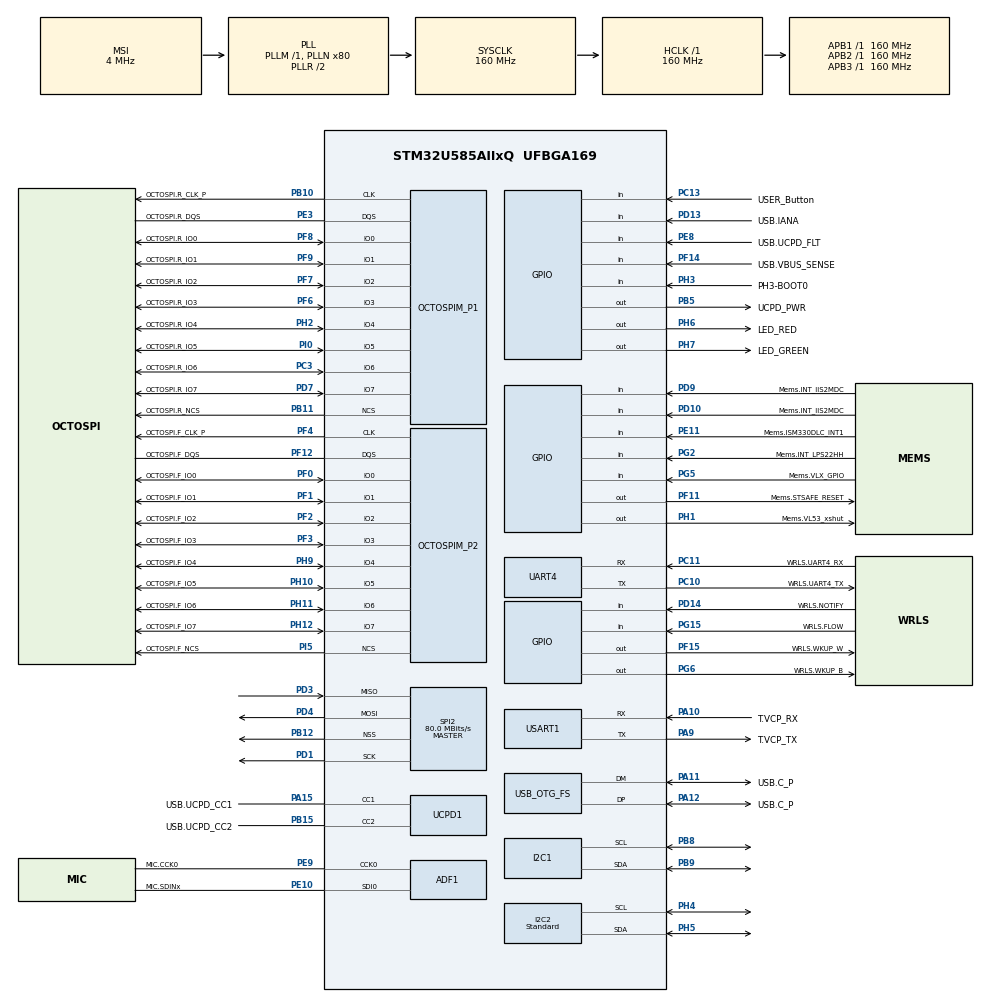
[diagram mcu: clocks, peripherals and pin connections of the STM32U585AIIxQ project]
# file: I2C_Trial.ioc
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CORTEX_M33_NS.userName=CORTEX_M33
I2C1.Timing=0x30909DEC
I2C2.I2C_Speed_Mode=I2C_Standard
I2C2.Timing=0x30909DEC
Mcu.Family=STM32U5
Mcu.Name=STM32U585AIIxQ
Mcu.Package=UFBGA169
NVIC.PriorityGroup=NVIC_PRIORITYGROUP_4
OCTOSPI2.ChipSelectBoundary=0
OCTOSPI2.ChipSelectHighTime=2
OCTOSPI2.ClockPrescaler=4
OCTOSPI2.DelayBlockBypass=HAL_OSPI_DELAY_BLOCK_USED
OCTOSPI2.DelayHoldQuarterCycle=HAL_OSPI_DHQC_ENABLE
OCTOSPI2.DeviceSize=26
OCTOSPI2.FifoThreshold=4
OCTOSPI2.MemoryType=HAL_OSPI_MEMTYPE_MACRONIX
PA10.GPIO_Label=T.VCP_RX
PA10.Mode=Asynchronous
PA10.Signal=USART1_RX
PA11.GPIO_Label=USB.C_P
PA11.Mode=Device_Only
PA11.Signal=USB_OTG_FS_DM
PA12.GPIO_Label=USB.C_P
PA12.Mode=Device_Only
PA12.Signal=USB_OTG_FS_DP
PA13\ (JTMS/SWDIO).GPIO_Label=T.SWDIO
PA13\ (JTMS/SWDIO).Mode=Trace_Asynchronous_SW
PA13\ (JTMS/SWDIO).Signal=DEBUG_JTMS-SWDIO
PA14\ (JTCK/SWCLK).GPIO_Label=T.SWCLK
PA14\ (JTCK/SWCLK).Mode=Trace_Asynchronous_SW
PA14\ (JTCK/SWCLK).Signal=DEBUG_JTCK-SWCLK
PA15\ (JTDI).GPIO_Label=USB.UCPD_CC1
PA15\ (JTDI).Mode=Dual_Role_AllSignals
PA15\ (JTDI).Signal=UCPD1_CC1
PA9.GPIO_Label=T.VCP_TX
PA9.Mode=Asynchronous
PA9.Signal=USART1_TX
PB1.GPIO_Label=MIC.SDIN0
PB1.Signal=MDF1_SDI0
PB10.GPIO_Label=OCTOSPI.R_CLK_P
PB10.Mode=O1_P1_CLK
PB10.Signal=OCTOSPIM_P1_CLK
PB11.GPIO_Label=OCTOSPI.R_NCS
PB11.Mode=OCTOSPI1_Port1_NCS
PB11.Signal=OCTOSPIM_P1_NCS
PB12.GPIO_Mode=GPIO_MODE_AF_PP
PB12.GPIO_PuPd=GPIO_NOPULL
PB12.GPIO_Speed=GPIO_SPEED_FREQ_LOW
PB12.Mode=NSS_Signal_Hard_Output
PB12.Signal=SPI2_NSS
PB15.GPIO_Label=USB.UCPD_CC2
PB15.Mode=Dual_Role_AllSignals
PB15.Signal=UCPD1_CC2
PB3\ (JTDO/TRACESWO).GPIO_Label=T.SWO
PB3\ (JTDO/TRACESWO).Mode=Trace_Asynchronous_SW
PB3\ (JTDO/TRACESWO).Signal=DEBUG_JTDO-SWO
PB5.GPIO_Label=UCPD_PWR
PB5.Signal=GPIO_Output
PB8.Mode=I2C
PB8.Signal=I2C1_SCL
PB9.Mode=I2C
PB9.Signal=I2C1_SDA
PC10.GPIO_Label=WRLS.UART4_TX
PC10.Mode=Asynchronous
PC10.Signal=UART4_TX
PC11.GPIO_Label=WRLS.UART4_RX
PC11.Mode=Asynchronous
PC11.Signal=UART4_RX
PC13.GPIO_Label=USER_Button
PC13.Signal=GPIO_Input
PC14-OSC32_IN\ (PC14).GPIO_Label=PC14-OSC32_IN
PC14-OSC32_IN\ (PC14).Mode=LSE-External-Oscillator
PC14-OSC32_IN\ (PC14).Signal=RCC_OSC32_IN
PC15-OSC32_OUT\ (PC15).GPIO_Label=PC15-OSC32_OUT
PC15-OSC32_OUT\ (PC15).Mode=LSE-External-Oscillator
PC15-OSC32_OUT\ (PC15).Signal=RCC_OSC32_OUT
PC3.GPIO_Label=OCTOSPI.R_IO6
PC3.Mode=OCTOSPI1_IOH_Port1H
PC3.Signal=OCTOSPIM_P1_IO6
PD1.GPIO_Mode=GPIO_MODE_AF_PP
PD1.GPIO_PuPd=GPIO_NOPULL
PD1.GPIO_Speed=GPIO_SPEED_FREQ_LOW
PD1.Mode=Full_Duplex_Master
PD1.Signal=SPI2_SCK
PD10.GPIO_Label=Mems.INT_IIS2MDC
PD10.Signal=GPIO_Input
PD13.GPIO_Label=USB.IANA
PD13.Signal=GPIO_Input
PD14.GPIO_Label=WRLS.NOTIFY
PD14.Signal=GPIO_Input
PD3.GPIO_Mode=GPIO_MODE_AF_PP
PD3.GPIO_PuPd=GPIO_NOPULL
PD3.GPIO_Speed=GPIO_SPEED_FREQ_LOW
PD3.Mode=Full_Duplex_Master
PD3.Signal=SPI2_MISO
PD4.GPIO_Mode=GPIO_MODE_AF_PP
PD4.GPIO_PuPd=GPIO_NOPULL
PD4.GPIO_Speed=GPIO_SPEED_FREQ_LOW
PD4.Mode=Full_Duplex_Master
PD4.Signal=SPI2_MOSI
PD7.GPIO_Label=OCTOSPI.R_IO7
PD7.Mode=OCTOSPI1_IOH_Port1H
PD7.Signal=OCTOSPIM_P1_IO7
PD9.GPIO_Label=Mems.INT_IIS2MDC
PD9.Signal=GPIO_Input
PE10.GPIO_Label=MIC.SDINx
PE10.Mode=MOD_ADF_CCK
PE10.Signal=ADF1_SDI0
PE11.GPIO_Label=Mems.ISM330DLC_INT1
PE11.Signal=GPIO_Input
PE3.GPIO_Label=OCTOSPI.R_DQS
PE3.Mode=OCTOSPI1_Port1_DQS
PE3.Signal=OCTOSPIM_P1_DQS
PE8.GPIO_Label=USB.UCPD_FLT
PE8.Signal=GPIO_Input
PE9.GPIO_Label=MIC.CCK0
PE9.Mode=MOD_MDF_CCK0
PE9.Signal=ADF1_CCK0
PF0.GPIO_Label=OCTOSPI.F_IO0
PF0.Mode=OCTOSPI2_IOL_Port2L
PF0.Signal=OCTOSPIM_P2_IO0
PF1.GPIO_Label=OCTOSPI.F_IO1
PF1.Mode=OCTOSPI2_IOL_Port2L
PF1.Signal=OCTOSPIM_P2_IO1
PF10.GPIO_Label=MIC.CCK1
PF10.Signal=MDF1_CCK1
PF11.GPIO_Label=Mems.STSAFE_RESET
PF11.Signal=GPIO_Output
PF12.GPIO_Label=OCTOSPI.F_DQS
PF12.Mode=OCTOSPI2_Port2_DQS
PF12.Signal=OCTOSPIM_P2_DQS
PF14.GPIO_Label=USB.VBUS_SENSE
PF14.Signal=GPIO_Input
PF15.GPIO_Label=WRLS.WKUP_W
PF15.Signal=GPIO_Output
PF2.GPIO_Label=OCTOSPI.F_IO2
PF2.Mode=OCTOSPI2_IOL_Port2L
PF2.Signal=OCTOSPIM_P2_IO2
PF3.GPIO_Label=OCTOSPI.F_IO3
PF3.Mode=OCTOSPI2_IOL_Port2L
PF3.Signal=OCTOSPIM_P2_IO3
PF4.GPIO_Label=OCTOSPI.F_CLK_P
PF4.Mode=O2_P2_CLK
PF4.Signal=OCTOSPIM_P2_CLK
PF6.GPIO_Label=OCTOSPI.R_IO3
PF6.Mode=OCTOSPI1_IOL_Port1L
PF6.Signal=OCTOSPIM_P1_IO3
PF7.GPIO_Label=OCTOSPI.R_IO2
PF7.Mode=OCTOSPI1_IOL_Port1L
PF7.Signal=OCTOSPIM_P1_IO2
PF8.GPIO_Label=OCTOSPI.R_IO0
PF8.Mode=OCTOSPI1_IOL_Port1L
PF8.Signal=OCTOSPIM_P1_IO0
PF9.GPIO_Label=OCTOSPI.R_IO1
PF9.Mode=OCTOSPI1_IOL_Port1L
PF9.Signal=OCTOSPIM_P1_IO1
PG15.GPIO_Label=WRLS.FLOW
PG15.Signal=GPIO_Input
PG2.GPIO_Label=Mems.INT_LPS22HH
PG2.Signal=GPIO_Input
PG5.GPIO_Label=Mems.VLX_GPIO
PG5.Signal=GPIO_Input
PG6.GPIO_Label=WRLS.WKUP_B
PG6.Signal=GPIO_Output
PH1-OSC_OUT\ (PH1).GPIO_Label=Mems.VL53_xshut
PH1-OSC_OUT\ (PH1).Signal=GPIO_Output
PH10.GPIO_Label=OCTOSPI.F_IO5
PH10.Mode=OCTOSPI2_IOH_Port2H
PH10.Signal=OCTOSPIM_P2_IO5
PH11.GPIO_Label=OCTOSPI.F_IO6
PH11.Mode=OCTOSPI2_IOH_Port2H
PH11.Signal=OCTOSPIM_P2_IO6
PH12.GPIO_Label=OCTOSPI.F_IO7
PH12.Mode=OCTOSPI2_IOH_Port2H
PH12.Signal=OCTOSPIM_P2_IO7
PH2.GPIO_Label=OCTOSPI.R_IO4
PH2.Mode=OCTOSPI1_IOH_Port1H
PH2.Signal=OCTOSPIM_P1_IO4
PH3-BOOT0.GPIO_Label=PH3-BOOT0
PH3-BOOT0.Signal=GPIO_Input
PH4.Mode=I2C
PH4.Signal=I2C2_SCL
PH5.Mode=I2C
PH5.Signal=I2C2_SDA
PH6.GPIO_Label=LED_RED
PH6.Signal=GPIO_Output
PH7.GPIO_Label=LED_GREEN
PH7.Signal=GPIO_Output
PH9.GPIO_Label=OCTOSPI.F_IO4
PH9.Mode=OCTOSPI2_IOH_Port2H
PH9.Signal=OCTOSPIM_P2_IO4
PI0.GPIO_Label=OCTOSPI.R_IO5
PI0.Mode=OCTOSPI1_IOH_Port1H
PI0.Signal=OCTOSPIM_P1_IO5
PI5.GPIO_Label=OCTOSPI.F_NCS
PI5.Mode=OCTOSPI2_Port2_NCS
PI5.Signal=OCTOSPIM_P2_NCS
PWR.PowerMode=PWR_SMPS_SUPPLY
ProjectManager.HeapSize=0x200
ProjectManager.StackSize=0x400
ProjectManager.TargetToolchain=STM32CubeIDE
RCC.ADCFreq_Value=16000000
RCC.AHBFreq_Value=160000000
RCC.APB1Freq_Value=160000000
RCC.APB1TimFreq_Value=160000000
RCC.APB2Freq_Value=160000000
RCC.APB2TimFreq_Value=160000000
RCC.APB3Freq_Value=160000000
RCC.CortexFreq_Value=160000000
RCC.DACCLockSelectionVirtual=RCC_DAC1CLKSOURCE_LSI
RCC.DACCLockSelectionVirtualString=RCC_DAC1CLKSOURCE_LSI
RCC.EPOD_VALUE=4000000
RCC.HCLKFreq_Value=160000000
RCC.HSE_VALUE=16000000
RCC.HSI48_VALUE=48000000
RCC.HSI_VALUE=16000000
RCC.LSIDIV_VALUE=32000
RCC.MSI_VALUE=4000000
RCC.PLLN=80
RCC.SYSCLKFreq_VALUE=160000000
RCC.SYSCLKSource=RCC_SYSCLKSOURCE_PLLCLK
RCC.USBFreq_Value=48000000
RCC.VCOOutputFreq_Value=320000000
SPI2.CalculateBaudRate=80.0 MBits/s
SPI2.Direction=SPI_DIRECTION_2LINES
SPI2.Mode=SPI_MODE_MASTER
SPI2.VirtualNSS=VM_NSSHARD
SPI2.VirtualType=VM_MASTER
USART1.VirtualMode-Asynchronous=VM_ASYNC
USB_OTG_FS.VirtualMode=Device_Only
VP_LPBAMQUEUE_VS_QUEUE.Mode=QUEUEMODE
VP_LPBAM_VS_SIG1.Mode=SmartRun
VP_LPBAM_VS_SIG4.Mode=LPDMA1
VP_OCTOSPI1_VS_octo.Mode=octo_mode
VP_OCTOSPI2_VS_octo.Mode=octo_mode
VP_PWR_VS_DBSignals.Mode=DisableDeadBatterySignals
VP_PWR_VS_LPOM.Mode=PowerOptimisation
VP_PWR_VS_SECSignals.Mode=Security/Privilege
board=B-U585I-IOT02A

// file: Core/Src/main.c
/* USER CODE BEGIN Header */
/**
  ******************************************************************************
  * @file           : main.c
  * @brief          : Main program body
  ******************************************************************************
  * @attention
  *
  * Copyright (c) 2022 STMicroelectronics.
  * All rights reserved.
  *
  * This software is licensed under terms that can be found in the LICENSE file
  * in the root directory of this software component.
  * If no LICENSE file comes with this software, it is provided AS-IS.
  *
  ******************************************************************************
  */
/* USER CODE END Header */
#include "main.h"

/* USER CODE BEGIN Includes */
#include <stdlib.h>
#include <stdio.h>
/* USER CODE END Includes */

 MDF_HandleTypeDef AdfHandle0;
MDF_FilterConfigTypeDef AdfFilterConfig0;

I2C_HandleTypeDef hi2c1;
I2C_HandleTypeDef hi2c2;

OSPI_HandleTypeDef hospi1;
OSPI_HandleTypeDef hospi2;

SPI_HandleTypeDef hspi2;

UART_HandleTypeDef huart4;
UART_HandleTypeDef huart1;

PCD_HandleTypeDef hpcd_USB_OTG_FS;

void SystemClock_Config(void);
static void SystemPower_Config(void);
static void MX_GPIO_Init(void);
static void MX_ADF1_Init(void);
static void MX_I2C1_Init(void);
static void MX_I2C2_Init(void);
static void MX_OCTOSPI1_Init(void);
static void MX_OCTOSPI2_Init(void);
static void MX_SPI2_Init(void);
static void MX_UART4_Init(void);
static void MX_USART1_UART_Init(void);
static void MX_UCPD1_Init(void);
static void MX_USB_OTG_FS_PCD_Init(void);
/* USER CODE BEGIN PFP */
static void read_temp(I2C_HandleTypeDef *hi2c, int16_t *value);
static void read_humidity(I2C_HandleTypeDef *hi2c, int16_t *value);
/* USER CODE END PFP */

/* USER CODE BEGIN 0 */
const uint8_t hts221_write_addr = 0xBE;
const uint8_t hts221_read_addr = 0XBF;
/* USER CODE END 0 */

int main(void)
{

  /* MCU Configuration--------------------------------------------------------*/

  /* Reset of all peripherals, Initializes the Flash interface and the Systick. */
  HAL_Init();

  /* Configure the system clock */
  SystemClock_Config();

  /* Configure the System Power */
  SystemPower_Config();

  /* Initialize all configured peripherals */
  MX_GPIO_Init();
  MX_ADF1_Init();
  MX_I2C1_Init();
  MX_I2C2_Init();
  MX_OCTOSPI1_Init();
  MX_OCTOSPI2_Init();
  MX_SPI2_Init();
  MX_UART4_Init();
  MX_USART1_UART_Init();
  MX_UCPD1_Init();
  MX_USB_OTG_FS_PCD_Init();
  /* USER CODE BEGIN 2 */
  int16_t temp_val;
  int16_t hum_val;

  //HTS221 settings (temperature and humidity sensor)

  /* USER CODE END 2 */

  /* Infinite loop */
  /* USER CODE BEGIN WHILE */
  while (1)
  {
	  read_temp(&hi2c2, &temp_val);
	  read_humidity(&hi2c2, &hum_val);
	  //2nd param is slave address; pData is pointer to data. Size can be set to sizeof(pData)
	  //ret = HAL_I2C_Master_Transmit(hi2c2, hts221_write_addr, pData, Size, Timeout=50);//first bit is read/write.
	  //HAL_I2C_Master_Receive(hi2c2, 0xBF, pData, Size, Timeout=50);

	  //HAL_I2C_Mem_Write(&hi2c2, MemAddress, MemAddSize, &read_temp_lo, Size, Timeout);
	  //HAL_I2C_Mem_Read(&hi2c2, hts221_read_addr, temp_out_l, MemAddSize, pData, Size, Timeout)
    /* USER CODE END WHILE */

  }
}

void SystemClock_Config(void)
{
  RCC_OscInitTypeDef RCC_OscInitStruct = {0};
  RCC_ClkInitTypeDef RCC_ClkInitStruct = {0};

  /** Configure the main internal regulator output voltage
  */
  if (HAL_PWREx_ControlVoltageScaling(PWR_REGULATOR_VOLTAGE_SCALE1) != HAL_OK)
  {
    Error_Handler();
  }

  /** Initializes the CPU, AHB and APB busses clocks
  */
  RCC_OscInitStruct.OscillatorType = RCC_OSCILLATORTYPE_HSI48|RCC_OSCILLATORTYPE_MSI;
  RCC_OscInitStruct.HSI48State = RCC_HSI48_ON;
  RCC_OscInitStruct.MSIState = RCC_MSI_ON;
  RCC_OscInitStruct.MSICalibrationValue = RCC_MSICALIBRATION_DEFAULT;
  RCC_OscInitStruct.MSIClockRange = RCC_MSIRANGE_4;
  RCC_OscInitStruct.PLL.PLLState = RCC_PLL_ON;
  RCC_OscInitStruct.PLL.PLLSource = RCC_PLLSOURCE_MSI;
  RCC_OscInitStruct.PLL.PLLMBOOST = RCC_PLLMBOOST_DIV1;
  RCC_OscInitStruct.PLL.PLLM = 1;
  RCC_OscInitStruct.PLL.PLLN = 80;
  RCC_OscInitStruct.PLL.PLLP = 2;
  RCC_OscInitStruct.PLL.PLLQ = 2;
  RCC_OscInitStruct.PLL.PLLR = 2;
  RCC_OscInitStruct.PLL.PLLRGE = RCC_PLLVCIRANGE_0;
  RCC_OscInitStruct.PLL.PLLFRACN = 0;
  if (HAL_RCC_OscConfig(&RCC_OscInitStruct) != HAL_OK)
  {
    Error_Handler();
  }

  /** Initializes the CPU, AHB and APB busses clocks
  */
  RCC_ClkInitStruct.ClockType = RCC_CLOCKTYPE_HCLK|RCC_CLOCKTYPE_SYSCLK
                              |RCC_CLOCKTYPE_PCLK1|RCC_CLOCKTYPE_PCLK2
                              |RCC_CLOCKTYPE_PCLK3;
  RCC_ClkInitStruct.SYSCLKSource = RCC_SYSCLKSOURCE_PLLCLK;
  RCC_ClkInitStruct.AHBCLKDivider = RCC_SYSCLK_DIV1;
  RCC_ClkInitStruct.APB1CLKDivider = RCC_HCLK_DIV1;
  RCC_ClkInitStruct.APB2CLKDivider = RCC_HCLK_DIV1;
  RCC_ClkInitStruct.APB3CLKDivider = RCC_HCLK_DIV1;

  if (HAL_RCC_ClockConfig(&RCC_ClkInitStruct, FLASH_LATENCY_4) != HAL_OK)
  {
    Error_Handler();
  }
}

/**
  * @brief Power Configuration
  * @retval None
  */
static void SystemPower_Config(void)
{
  HAL_PWREx_EnableVddIO2();

  /*
   * Switch to SMPS regulator instead of LDO
   */
  if (HAL_PWREx_ConfigSupply(PWR_SMPS_SUPPLY) != HAL_OK)
  {
    Error_Handler();
  }
}

static void MX_ADF1_Init(void)
{

  /**
    AdfHandle0 structure initialization and HAL_MDF_Init function call
  */
  AdfHandle0.Instance = ADF1_Filter0;
  AdfHandle0.Init.CommonParam.ProcClockDivider = 1;
  AdfHandle0.Init.CommonParam.OutputClock.Activation = DISABLE;
  AdfHandle0.Init.SerialInterface.Activation = ENABLE;
  AdfHandle0.Init.SerialInterface.ClockSource = MDF_SITF_CCK0_SOURCE;
  AdfHandle0.Init.SerialInterface.Threshold = 4;
  AdfHandle0.Init.FilterBistream = MDF_BITSTREAM0_FALLING;
  if (HAL_MDF_Init(&AdfHandle0) != HAL_OK)
  {
    Error_Handler();
  }

  /**
    AdfFilterConfig0 structure initialization

    WARNING : only structure is filled, no specific init function call for filter
  */
  AdfFilterConfig0.DataSource = MDF_DATA_SOURCE_BSMX;
  AdfFilterConfig0.Delay = 0;
  AdfFilterConfig0.CicMode = MDF_ONE_FILTER_SINC4;
  AdfFilterConfig0.DecimationRatio = 2;
  AdfFilterConfig0.Gain = 0;
  AdfFilterConfig0.ReshapeFilter.Activation = DISABLE;
  AdfFilterConfig0.HighPassFilter.Activation = DISABLE;
  AdfFilterConfig0.SoundActivity.Activation = DISABLE;
  AdfFilterConfig0.AcquisitionMode = MDF_MODE_ASYNC_CONT;
  AdfFilterConfig0.FifoThreshold = MDF_FIFO_THRESHOLD_NOT_EMPTY;
  AdfFilterConfig0.DiscardSamples = 0;

}

static void MX_I2C1_Init(void)
{

  hi2c1.Instance = I2C1;
  hi2c1.Init.Timing = 0x30909DEC;
  hi2c1.Init.OwnAddress1 = 0;
  hi2c1.Init.AddressingMode = I2C_ADDRESSINGMODE_7BIT;
  hi2c1.Init.DualAddressMode = I2C_DUALADDRESS_DISABLE;
  hi2c1.Init.OwnAddress2 = 0;
  hi2c1.Init.OwnAddress2Masks = I2C_OA2_NOMASK;
  hi2c1.Init.GeneralCallMode = I2C_GENERALCALL_DISABLE;
  hi2c1.Init.NoStretchMode = I2C_NOSTRETCH_DISABLE;
  if (HAL_I2C_Init(&hi2c1) != HAL_OK)
  {
    Error_Handler();
  }

  /** Configure Analogue filter
  */
  if (HAL_I2CEx_ConfigAnalogFilter(&hi2c1, I2C_ANALOGFILTER_ENABLE) != HAL_OK)
  {
    Error_Handler();
  }

  /** Configure Digital filter
  */
  if (HAL_I2CEx_ConfigDigitalFilter(&hi2c1, 0) != HAL_OK)
  {
    Error_Handler();
  }

}

static void MX_I2C2_Init(void)
{

  hi2c2.Instance = I2C2;
  hi2c2.Init.Timing = 0x30909DEC;
  hi2c2.Init.OwnAddress1 = 0;
  hi2c2.Init.AddressingMode = I2C_ADDRESSINGMODE_7BIT;
  hi2c2.Init.DualAddressMode = I2C_DUALADDRESS_DISABLE;
  hi2c2.Init.OwnAddress2 = 0;
  hi2c2.Init.OwnAddress2Masks = I2C_OA2_NOMASK;
  hi2c2.Init.GeneralCallMode = I2C_GENERALCALL_DISABLE;
  hi2c2.Init.NoStretchMode = I2C_NOSTRETCH_DISABLE;
  if (HAL_I2C_Init(&hi2c2) != HAL_OK)
  {
    Error_Handler();
  }

  /** Configure Analogue filter
  */
  if (HAL_I2CEx_ConfigAnalogFilter(&hi2c2, I2C_ANALOGFILTER_ENABLE) != HAL_OK)
  {
    Error_Handler();
  }

  /** Configure Digital filter
  */
  if (HAL_I2CEx_ConfigDigitalFilter(&hi2c2, 0) != HAL_OK)
  {
    Error_Handler();
  }

}

static void MX_OCTOSPI1_Init(void)
{

  OSPIM_CfgTypeDef sOspiManagerCfg = {0};
  HAL_OSPI_DLYB_CfgTypeDef HAL_OSPI_DLYB_Cfg_Struct = {0};

  /* OCTOSPI1 parameter configuration*/
  hospi1.Instance = OCTOSPI1;
  hospi1.Init.FifoThreshold = 1;
  hospi1.Init.DualQuad = HAL_OSPI_DUALQUAD_DISABLE;
  hospi1.Init.MemoryType = HAL_OSPI_MEMTYPE_MICRON;
  hospi1.Init.DeviceSize = 32;
  hospi1.Init.ChipSelectHighTime = 1;
  hospi1.Init.FreeRunningClock = HAL_OSPI_FREERUNCLK_DISABLE;
  hospi1.Init.ClockMode = HAL_OSPI_CLOCK_MODE_0;
  hospi1.Init.WrapSize = HAL_OSPI_WRAP_NOT_SUPPORTED;
  hospi1.Init.ClockPrescaler = 1;
  hospi1.Init.SampleShifting = HAL_OSPI_SAMPLE_SHIFTING_NONE;
  hospi1.Init.DelayHoldQuarterCycle = HAL_OSPI_DHQC_DISABLE;
  hospi1.Init.ChipSelectBoundary = 0;
  hospi1.Init.DelayBlockBypass = HAL_OSPI_DELAY_BLOCK_BYPASSED;
  hospi1.Init.MaxTran = 0;
  hospi1.Init.Refresh = 0;
  if (HAL_OSPI_Init(&hospi1) != HAL_OK)
  {
    Error_Handler();
  }
  sOspiManagerCfg.ClkPort = 1;
  sOspiManagerCfg.DQSPort = 1;
  sOspiManagerCfg.NCSPort = 1;
  sOspiManagerCfg.IOLowPort = HAL_OSPIM_IOPORT_1_LOW;
  sOspiManagerCfg.IOHighPort = HAL_OSPIM_IOPORT_1_HIGH;
  if (HAL_OSPIM_Config(&hospi1, &sOspiManagerCfg, HAL_OSPI_TIMEOUT_DEFAULT_VALUE) != HAL_OK)
  {
    Error_Handler();
  }
  HAL_OSPI_DLYB_Cfg_Struct.Units = 0;
  HAL_OSPI_DLYB_Cfg_Struct.PhaseSel = 0;
  if (HAL_OSPI_DLYB_SetConfig(&hospi1, &HAL_OSPI_DLYB_Cfg_Struct) != HAL_OK)
  {
    Error_Handler();
  }

}

static void MX_OCTOSPI2_Init(void)
{

  OSPIM_CfgTypeDef sOspiManagerCfg = {0};
  HAL_OSPI_DLYB_CfgTypeDef HAL_OSPI_DLYB_Cfg_Struct = {0};

  /* OCTOSPI2 parameter configuration*/
  hospi2.Instance = OCTOSPI2;
  hospi2.Init.FifoThreshold = 4;
  hospi2.Init.DualQuad = HAL_OSPI_DUALQUAD_DISABLE;
  hospi2.Init.MemoryType = HAL_OSPI_MEMTYPE_MACRONIX;
  hospi2.Init.DeviceSize = 26;
  hospi2.Init.ChipSelectHighTime = 2;
  hospi2.Init.FreeRunningClock = HAL_OSPI_FREERUNCLK_DISABLE;
  hospi2.Init.ClockMode = HAL_OSPI_CLOCK_MODE_0;
  hospi2.Init.WrapSize = HAL_OSPI_WRAP_NOT_SUPPORTED;
  hospi2.Init.ClockPrescaler = 4;
  hospi2.Init.SampleShifting = HAL_OSPI_SAMPLE_SHIFTING_NONE;
  hospi2.Init.DelayHoldQuarterCycle = HAL_OSPI_DHQC_ENABLE;
  hospi2.Init.ChipSelectBoundary = 0;
  hospi2.Init.DelayBlockBypass = HAL_OSPI_DELAY_BLOCK_USED;
  hospi2.Init.MaxTran = 0;
  hospi2.Init.Refresh = 0;
  if (HAL_OSPI_Init(&hospi2) != HAL_OK)
  {
    Error_Handler();
  }
  sOspiManagerCfg.ClkPort = 2;
  sOspiManagerCfg.DQSPort = 2;
  sOspiManagerCfg.NCSPort = 2;
  sOspiManagerCfg.IOLowPort = HAL_OSPIM_IOPORT_2_LOW;
  sOspiManagerCfg.IOHighPort = HAL_OSPIM_IOPORT_2_HIGH;
  if (HAL_OSPIM_Config(&hospi2, &sOspiManagerCfg, HAL_OSPI_TIMEOUT_DEFAULT_VALUE) != HAL_OK)
  {
    Error_Handler();
  }
  HAL_OSPI_DLYB_Cfg_Struct.Units = 0;
  HAL_OSPI_DLYB_Cfg_Struct.PhaseSel = 0;
  if (HAL_OSPI_DLYB_SetConfig(&hospi2, &HAL_OSPI_DLYB_Cfg_Struct) != HAL_OK)
  {
    Error_Handler();
  }

}

static void MX_SPI2_Init(void)
{

  SPI_AutonomousModeConfTypeDef HAL_SPI_AutonomousMode_Cfg_Struct = {0};

  /* SPI2 parameter configuration*/
  hspi2.Instance = SPI2;
  hspi2.Init.Mode = SPI_MODE_MASTER;
  hspi2.Init.Direction = SPI_DIRECTION_2LINES;
  hspi2.Init.DataSize = SPI_DATASIZE_4BIT;
  hspi2.Init.CLKPolarity = SPI_POLARITY_LOW;
  hspi2.Init.CLKPhase = SPI_PHASE_1EDGE;
  hspi2.Init.NSS = SPI_NSS_HARD_OUTPUT;
  hspi2.Init.BaudRatePrescaler = SPI_BAUDRATEPRESCALER_2;
  hspi2.Init.FirstBit = SPI_FIRSTBIT_MSB;
  hspi2.Init.TIMode = SPI_TIMODE_DISABLE;
  hspi2.Init.CRCCalculation = SPI_CRCCALCULATION_DISABLE;
  hspi2.Init.CRCPolynomial = 0x7;
  hspi2.Init.NSSPMode = SPI_NSS_PULSE_ENABLE;
  hspi2.Init.NSSPolarity = SPI_NSS_POLARITY_LOW;
  hspi2.Init.FifoThreshold = SPI_FIFO_THRESHOLD_01DATA;
  hspi2.Init.MasterSSIdleness = SPI_MASTER_SS_IDLENESS_00CYCLE;
  hspi2.Init.MasterInterDataIdleness = SPI_MASTER_INTERDATA_IDLENESS_00CYCLE;
  hspi2.Init.MasterReceiverAutoSusp = SPI_MASTER_RX_AUTOSUSP_DISABLE;
  hspi2.Init.MasterKeepIOState = SPI_MASTER_KEEP_IO_STATE_DISABLE;
  hspi2.Init.IOSwap = SPI_IO_SWAP_DISABLE;
  hspi2.Init.ReadyMasterManagement = SPI_RDY_MASTER_MANAGEMENT_INTERNALLY;
  hspi2.Init.ReadyPolarity = SPI_RDY_POLARITY_HIGH;
  if (HAL_SPI_Init(&hspi2) != HAL_OK)
  {
    Error_Handler();
  }
  HAL_SPI_AutonomousMode_Cfg_Struct.TriggerState = SPI_AUTO_MODE_DISABLE;
  HAL_SPI_AutonomousMode_Cfg_Struct.TriggerSelection = SPI_GRP1_GPDMA_CH0_TCF_TRG;
  HAL_SPI_AutonomousMode_Cfg_Struct.TriggerPolarity = SPI_TRIG_POLARITY_RISING;
  if (HAL_SPIEx_SetConfigAutonomousMode(&hspi2, &HAL_SPI_AutonomousMode_Cfg_Struct) != HAL_OK)
  {
    Error_Handler();
  }

}

static void MX_UART4_Init(void)
{

  huart4.Instance = UART4;
  huart4.Init.BaudRate = 115200;
  huart4.Init.WordLength = UART_WORDLENGTH_8B;
  huart4.Init.StopBits = UART_STOPBITS_1;
  huart4.Init.Parity = UART_PARITY_NONE;
  huart4.Init.Mode = UART_MODE_TX_RX;
  huart4.Init.HwFlowCtl = UART_HWCONTROL_NONE;
  huart4.Init.OverSampling = UART_OVERSAMPLING_16;
  huart4.Init.OneBitSampling = UART_ONE_BIT_SAMPLE_DISABLE;
  huart4.Init.ClockPrescaler = UART_PRESCALER_DIV1;
  huart4.AdvancedInit.AdvFeatureInit = UART_ADVFEATURE_NO_INIT;
  if (HAL_UART_Init(&huart4) != HAL_OK)
  {
    Error_Handler();
  }
  if (HAL_UARTEx_SetTxFifoThreshold(&huart4, UART_TXFIFO_THRESHOLD_1_8) != HAL_OK)
  {
    Error_Handler();
  }
  if (HAL_UARTEx_SetRxFifoThreshold(&huart4, UART_RXFIFO_THRESHOLD_1_8) != HAL_OK)
  {
    Error_Handler();
  }
  if (HAL_UARTEx_DisableFifoMode(&huart4) != HAL_OK)
  {
    Error_Handler();
  }

}

static void MX_USART1_UART_Init(void)
{

  huart1.Instance = USART1;
  huart1.Init.BaudRate = 115200;
  huart1.Init.WordLength = UART_WORDLENGTH_8B;
  huart1.Init.StopBits = UART_STOPBITS_1;
  huart1.Init.Parity = UART_PARITY_NONE;
  huart1.Init.Mode = UART_MODE_TX_RX;
  huart1.Init.HwFlowCtl = UART_HWCONTROL_NONE;
  huart1.Init.OverSampling = UART_OVERSAMPLING_16;
  huart1.Init.OneBitSampling = UART_ONE_BIT_SAMPLE_DISABLE;
  huart1.Init.ClockPrescaler = UART_PRESCALER_DIV1;
  huart1.AdvancedInit.AdvFeatureInit = UART_ADVFEATURE_NO_INIT;
  if (HAL_UART_Init(&huart1) != HAL_OK)
  {
    Error_Handler();
  }
  if (HAL_UARTEx_SetTxFifoThreshold(&huart1, UART_TXFIFO_THRESHOLD_1_8) != HAL_OK)
  {
    Error_Handler();
  }
  if (HAL_UARTEx_SetRxFifoThreshold(&huart1, UART_RXFIFO_THRESHOLD_1_8) != HAL_OK)
  {
    Error_Handler();
  }
  if (HAL_UARTEx_DisableFifoMode(&huart1) != HAL_OK)
  {
    Error_Handler();
  }

}

static void MX_UCPD1_Init(void)
{

  LL_GPIO_InitTypeDef GPIO_InitStruct = {0};

  /* Peripheral clock enable */
  LL_APB1_GRP2_EnableClock(LL_APB1_GRP2_PERIPH_UCPD1);

  LL_AHB2_GRP1_EnableClock(LL_AHB2_GRP1_PERIPH_GPIOA);
  LL_AHB2_GRP1_EnableClock(LL_AHB2_GRP1_PERIPH_GPIOB);
  /**UCPD1 GPIO Configuration
  PA15 (JTDI)   ------> UCPD1_CC1
  PB15   ------> UCPD1_CC2
  */
  GPIO_InitStruct.Pin = LL_GPIO_PIN_15;
  GPIO_InitStruct.Mode = LL_GPIO_MODE_ANALOG;
  GPIO_InitStruct.Pull = LL_GPIO_PULL_NO;
  LL_GPIO_Init(GPIOA, &GPIO_InitStruct);

  GPIO_InitStruct.Pin = LL_GPIO_PIN_15;
  GPIO_InitStruct.Mode = LL_GPIO_MODE_ANALOG;
  GPIO_InitStruct.Pull = LL_GPIO_PULL_NO;
  LL_GPIO_Init(GPIOB, &GPIO_InitStruct);

}

static void MX_USB_OTG_FS_PCD_Init(void)
{

  hpcd_USB_OTG_FS.Instance = USB_OTG_FS;
  hpcd_USB_OTG_FS.Init.dev_endpoints = 6;
  hpcd_USB_OTG_FS.Init.phy_itface = PCD_PHY_EMBEDDED;
  hpcd_USB_OTG_FS.Init.Sof_enable = DISABLE;
  hpcd_USB_OTG_FS.Init.low_power_enable = DISABLE;
  hpcd_USB_OTG_FS.Init.lpm_enable = DISABLE;
  hpcd_USB_OTG_FS.Init.battery_charging_enable = DISABLE;
  hpcd_USB_OTG_FS.Init.use_dedicated_ep1 = DISABLE;
  hpcd_USB_OTG_FS.Init.vbus_sensing_enable = DISABLE;
  if (HAL_PCD_Init(&hpcd_USB_OTG_FS) != HAL_OK)
  {
    Error_Handler();
  }

}

static void MX_GPIO_Init(void)
{
  GPIO_InitTypeDef GPIO_InitStruct = {0};

  /* GPIO Ports Clock Enable */
  __HAL_RCC_GPIOG_CLK_ENABLE();
  __HAL_RCC_GPIOC_CLK_ENABLE();
  __HAL_RCC_GPIOA_CLK_ENABLE();
  __HAL_RCC_GPIOI_CLK_ENABLE();
  __HAL_RCC_GPIOH_CLK_ENABLE();
  __HAL_RCC_GPIOB_CLK_ENABLE();
  __HAL_RCC_GPIOD_CLK_ENABLE();
  __HAL_RCC_GPIOE_CLK_ENABLE();
  __HAL_RCC_GPIOF_CLK_ENABLE();

  /*Configure GPIO pin Output Level */
  HAL_GPIO_WritePin(UCPD_PWR_GPIO_Port, UCPD_PWR_Pin, GPIO_PIN_RESET);

  /*Configure GPIO pin Output Level */
  HAL_GPIO_WritePin(GPIOH, LED_RED_Pin|LED_GREEN_Pin|Mems_VL53_xshut_Pin, GPIO_PIN_RESET);

  /*Configure GPIO pin Output Level */
  HAL_GPIO_WritePin(WRLS_WKUP_B_GPIO_Port, WRLS_WKUP_B_Pin, GPIO_PIN_RESET);

  /*Configure GPIO pin Output Level */
  HAL_GPIO_WritePin(GPIOF, Mems_STSAFE_RESET_Pin|WRLS_WKUP_W_Pin, GPIO_PIN_RESET);

  /*Configure GPIO pins : WRLS_FLOW_Pin Mems_VLX_GPIO_Pin Mems_INT_LPS22HH_Pin */
  GPIO_InitStruct.Pin = WRLS_FLOW_Pin|Mems_VLX_GPIO_Pin|Mems_INT_LPS22HH_Pin;
  GPIO_InitStruct.Mode = GPIO_MODE_INPUT;
  GPIO_InitStruct.Pull = GPIO_NOPULL;
  HAL_GPIO_Init(GPIOG, &GPIO_InitStruct);

  /*Configure GPIO pin : PH3_BOOT0_Pin */
  GPIO_InitStruct.Pin = PH3_BOOT0_Pin;
  GPIO_InitStruct.Mode = GPIO_MODE_INPUT;
  GPIO_InitStruct.Pull = GPIO_NOPULL;
  HAL_GPIO_Init(PH3_BOOT0_GPIO_Port, &GPIO_InitStruct);

  /*Configure GPIO pin : UCPD_PWR_Pin */
  GPIO_InitStruct.Pin = UCPD_PWR_Pin;
  GPIO_InitStruct.Mode = GPIO_MODE_OUTPUT_PP;
  GPIO_InitStruct.Pull = GPIO_NOPULL;
  GPIO_InitStruct.Speed = GPIO_SPEED_FREQ_LOW;
  HAL_GPIO_Init(UCPD_PWR_GPIO_Port, &GPIO_InitStruct);

  /*Configure GPIO pin : USER_Button_Pin */
  GPIO_InitStruct.Pin = USER_Button_Pin;
  GPIO_InitStruct.Mode = GPIO_MODE_INPUT;
  GPIO_InitStruct.Pull = GPIO_NOPULL;
  HAL_GPIO_Init(USER_Button_GPIO_Port, &GPIO_InitStruct);

  /*Configure GPIO pins : LED_RED_Pin LED_GREEN_Pin Mems_VL53_xshut_Pin */
  GPIO_InitStruct.Pin = LED_RED_Pin|LED_GREEN_Pin|Mems_VL53_xshut_Pin;
  GPIO_InitStruct.Mode = GPIO_MODE_OUTPUT_PP;
  GPIO_InitStruct.Pull = GPIO_NOPULL;
  GPIO_InitStruct.Speed = GPIO_SPEED_FREQ_LOW;
  HAL_GPIO_Init(GPIOH, &GPIO_InitStruct);

  /*Configure GPIO pin : MIC_CCK1_Pin */
  GPIO_InitStruct.Pin = MIC_CCK1_Pin;
  GPIO_InitStruct.Mode = GPIO_MODE_AF_PP;
  GPIO_InitStruct.Pull = GPIO_NOPULL;
  GPIO_InitStruct.Speed = GPIO_SPEED_FREQ_LOW;
  GPIO_InitStruct.Alternate = GPIO_AF6_MDF1;
  HAL_GPIO_Init(MIC_CCK1_GPIO_Port, &GPIO_InitStruct);

  /*Configure GPIO pin : WRLS_WKUP_B_Pin */
  GPIO_InitStruct.Pin = WRLS_WKUP_B_Pin;
  GPIO_InitStruct.Mode = GPIO_MODE_OUTPUT_PP;
  GPIO_InitStruct.Pull = GPIO_NOPULL;
  GPIO_InitStruct.Speed = GPIO_SPEED_FREQ_LOW;
  HAL_GPIO_Init(WRLS_WKUP_B_GPIO_Port, &GPIO_InitStruct);

  /*Configure GPIO pins : WRLS_NOTIFY_Pin Mems_INT_IIS2MDC_Pin USB_IANA_Pin Mems_INT_IIS2MDCD9_Pin */
  GPIO_InitStruct.Pin = WRLS_NOTIFY_Pin|Mems_INT_IIS2MDC_Pin|USB_IANA_Pin|Mems_INT_IIS2MDCD9_Pin;
  GPIO_InitStruct.Mode = GPIO_MODE_INPUT;
  GPIO_InitStruct.Pull = GPIO_NOPULL;
  HAL_GPIO_Init(GPIOD, &GPIO_InitStruct);

  /*Configure GPIO pins : USB_UCPD_FLT_Pin Mems_ISM330DLC_INT1_Pin */
  GPIO_InitStruct.Pin = USB_UCPD_FLT_Pin|Mems_ISM330DLC_INT1_Pin;
  GPIO_InitStruct.Mode = GPIO_MODE_INPUT;
  GPIO_InitStruct.Pull = GPIO_NOPULL;
  HAL_GPIO_Init(GPIOE, &GPIO_InitStruct);

  /*Configure GPIO pin : USB_VBUS_SENSE_Pin */
  GPIO_InitStruct.Pin = USB_VBUS_SENSE_Pin;
  GPIO_InitStruct.Mode = GPIO_MODE_INPUT;
  GPIO_InitStruct.Pull = GPIO_NOPULL;
  HAL_GPIO_Init(USB_VBUS_SENSE_GPIO_Port, &GPIO_InitStruct);

  /*Configure GPIO pins : Mems_STSAFE_RESET_Pin WRLS_WKUP_W_Pin */
  GPIO_InitStruct.Pin = Mems_STSAFE_RESET_Pin|WRLS_WKUP_W_Pin;
  GPIO_InitStruct.Mode = GPIO_MODE_OUTPUT_PP;
  GPIO_InitStruct.Pull = GPIO_NOPULL;
  GPIO_InitStruct.Speed = GPIO_SPEED_FREQ_LOW;
  HAL_GPIO_Init(GPIOF, &GPIO_InitStruct);

  /*Configure GPIO pin : MIC_SDIN0_Pin */
  GPIO_InitStruct.Pin = MIC_SDIN0_Pin;
  GPIO_InitStruct.Mode = GPIO_MODE_AF_PP;
  GPIO_InitStruct.Pull = GPIO_NOPULL;
  GPIO_InitStruct.Speed = GPIO_SPEED_FREQ_LOW;
  GPIO_InitStruct.Alternate = GPIO_AF6_MDF1;
  HAL_GPIO_Init(MIC_SDIN0_GPIO_Port, &GPIO_InitStruct);

}

/* USER CODE BEGIN 4 */
static void read_temp(I2C_HandleTypeDef *hi2c, int16_t *value) {
	HAL_StatusTypeDef ret;
	int16_t T0_out, T1_out, T_out, t0_degC_x8_u16, t1_degC_x8_u16;
	int16_t T0_degC, T1_degC;
	uint8_t t0_degC_x8, t1_degC_x8;
	uint8_t buffer[4], tmp;

	//get t0_degC from 0x32
	ret = HAL_I2C_Mem_Read(hi2c, hts221_read_addr, 0x32, 1, &t0_degC_x8, 1, 100);
	if (ret != HAL_OK) {
		printf("HAL_I2C_Mem_Read failed");
		return;
	}
	//get t1_degC from 0x33
	ret = HAL_I2C_Mem_Read(hi2c, hts221_read_addr, 0x33, 1, &t1_degC_x8, 1, 100);
	if (ret != HAL_OK) {
		printf("HAL_I2C_Mem_Read failed");
		return;
	}

	//MSB of T1_degC and t0_degC
	ret = HAL_I2C_Mem_Read(hi2c, hts221_read_addr, 0x35, 1, &tmp, 1, 100);
	if (ret != HAL_OK) {
		printf("HAL_I2C_Mem_Read failed");
		return;
	}

	//calculate actual values of t0_degC and t1_degC using MSB and LSB
	//lowest two bits are MSB of t0_degc, then next two bits are MSB of t1_degC
	t0_degC_x8_u16 = (((uint16_t)(tmp & 0x03)) << 8) | ((uint16_t) t0_degC_x8);
	t1_degC_x8_u16 = (((uint16_t)(tmp & 0x0C)) << 6) | ((uint16_t) t1_degC_x8);
	//have to divide by 8
	T0_degC = t0_degC_x8_u16 >> 3;
	T1_degC = t1_degC_x8_u16 >> 3;

	//read from 0x3C and 0x3D The value of T0_OUT
	ret = HAL_I2C_Mem_Read(hi2c, hts221_read_addr, 0x3C, 1, &buffer[0], 1, 100);
	if (ret != HAL_OK) {
		printf("HAL_I2C_Mem_Read failed");
		return;
	}

	ret = HAL_I2C_Mem_Read(hi2c, hts221_read_addr, 0x3D, 1, &buffer[1], 1, 100);
	if (ret != HAL_OK) {
		printf("HAL_I2C_Mem_Read failed");
		return;
	}

	T0_out = (((uint16_t) buffer[1]) << 8) | (uint16_t) buffer[0];

	//read from 0x3E and 0x3F The value of T1_OUT
	ret = HAL_I2C_Mem_Read(hi2c, hts221_read_addr, 0x3E, 1, &buffer[0], 1, 100);
	if (ret != HAL_OK) {
		printf("HAL_I2C_Mem_Read failed");
		return;
	}

	ret = HAL_I2C_Mem_Read(hi2c, hts221_read_addr, 0x3F, 1, &buffer[1], 1, 100);
	if (ret != HAL_OK) {
		printf("HAL_I2C_Mem_Read failed");
		return;
	}

	T1_out = (((uint16_t) buffer[1]) << 8) | (uint16_t) buffer[0];

	//read value of T_out from registers 0x2A and 0x2B
	ret = HAL_I2C_Mem_Read(hi2c, hts221_read_addr, 0x2A, 1, &buffer[0], 1, 100);
	if (ret != HAL_OK) {
		printf("HAL_I2C_Mem_Read failed");
		return;
	}

	ret = HAL_I2C_Mem_Read(hi2c, hts221_read_addr, 0x2B, 1, &buffer[1], 1, 100);
	if (ret != HAL_OK) {
		printf("HAL_I2C_Mem_Read failed");
		return;
	}

	T_out = (((uint16_t) buffer[1]) << 8) | (uint16_t) buffer[0];

	//computing the actual temperature value using linear interpolation formula
	//@source: https://www.st.com/resource/en/technical_note/tn1218-interpreting-humidity-and-temperature-readings-in-the-hts221-digital-humidity-sensor-stmicroelectronics.pdf
	*value = ((T1_degC - T0_degC * (T_out - T0_out))/(T1_out - T0_out)) + T0_degC;
	return;
}

static void read_humidity(I2C_HandleTypeDef *hi2c, int16_t *value){
	HAL_StatusTypeDef ret;
	uint8_t buffer[2];
	uint16_t H0_rh, H1_rh;
	int16_t H0_T0_OUT;
	int16_t H1_T0_OUT;
	int16_t H_OUT;

	//reading h0_rh from 0x30
	ret = HAL_I2C_Mem_Read(hi2c, hts221_read_addr, 0x30, 1, &buffer[0], 1, 100);
	if (ret != HAL_OK) {
		printf("HAL_I2C_Mem_Read failed");
		return;
	}
	//reading h1_rh from 0x31
	ret = HAL_I2C_Mem_Read(hi2c, hts221_read_addr, 0x31, 1, &buffer[1], 1, 100);
	if (ret != HAL_OK) {
		printf("HAL_I2C_Mem_Read failed");
		return;
	}
	//computing H0_rh_x2
	H0_rh = buffer[0] >> 1;
	H1_rh = buffer[1] >> 1;

	//reading H0_T0_out from 0x36 and 0x37
	ret = HAL_I2C_Mem_Read(hi2c, hts221_read_addr, 0x36, 1, &buffer[0], 1, 100);
	if (ret != HAL_OK) {
		printf("HAL_I2C_Mem_Read failed");
		return;
	}
	//reading h0_rh_x2 high byte from 0x31
	ret = HAL_I2C_Mem_Read(hi2c, hts221_read_addr, 0x37, 1, &buffer[1], 1, 100);
	if (ret != HAL_OK) {
		printf("HAL_I2C_Mem_Read failed");
		return;
	}

	H0_T0_OUT = (((uint16_t) buffer[1]) << 8) | ((uint16_t) buffer[0]);

	//reading H0_T0_out from 0x3A and 0x3B
	ret = HAL_I2C_Mem_Read(hi2c, hts221_read_addr, 0x3A, 1, &buffer[0], 1, 100);
	if (ret != HAL_OK) {
		printf("HAL_I2C_Mem_Read failed");
		return;
	}
	//reading h0_rh_x2 high byte from 0x31
	ret = HAL_I2C_Mem_Read(hi2c, hts221_read_addr, 0x3B, 1, &buffer[1], 1, 100);
	if (ret != HAL_OK) {
		printf("HAL_I2C_Mem_Read failed");
		return;
	}

	H1_T0_OUT = (((uint16_t) buffer[1]) << 8) | ((uint16_t) buffer[0]);

	//raw humidity values into H_OUT from 0x28 0x29
	ret = HAL_I2C_Mem_Read(hi2c, hts221_read_addr, 0x28, 1, &buffer[0], 1, 100);
	if (ret != HAL_OK) {
		printf("HAL_I2C_Mem_Read failed");
		return;
	}
	//reading h0_rh_x2 high byte from 0x31
	ret = HAL_I2C_Mem_Read(hi2c, hts221_read_addr, 0x29, 1, &buffer[1], 1, 100);
	if (ret != HAL_OK) {
		printf("HAL_I2C_Mem_Read failed");
		return;
	}

	H_OUT = (((uint16_t) buffer[1]) << 8) | ((uint16_t) buffer[0]);

	*value = ((H1_rh - H0_rh)*(H_OUT - H0_T0_OUT))/(H1_T0_OUT - H0_T0_OUT) + H0_rh;
	return;

}

/* USER CODE END 4 */

void Error_Handler(void)
{
  __disable_irq();
  while (1)
  {
  }
}
